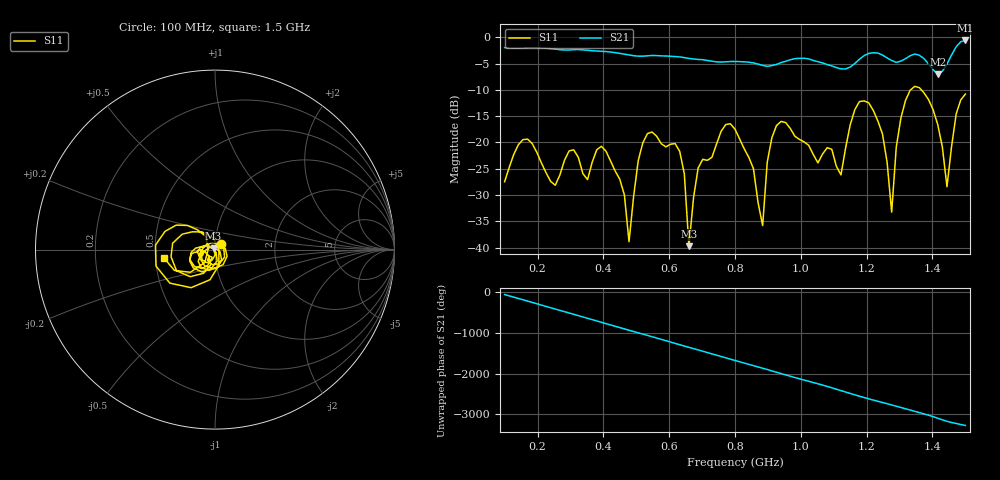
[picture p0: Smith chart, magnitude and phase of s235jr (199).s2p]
! NanoVNA-App
! Date: 2025-09-25 15:05:43
! Start: 100MHz Stop: 1,5GHz Points: 101
! S-Parameter data: F S11 S21 S12 S22
# Hz S RI R 50
!  Frequency  S11_Real  S11_Imag  S21_Real  S21_Imag  S12_Real  S12_Imag  S22_Real  S22_Imag
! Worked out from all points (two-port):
!   101 points, 100 MHz to 1.5 GHz, reference 50 ohm
!   highest |S21| = -0.60 dB at 1.5 GHz (marker M1); lowest = -7.1 dB at 1.416 GHz (marker M2)
!   |S21| within 3 dB of the highest: start of sweep to 601.6 MHz; 1.19 GHz to 1.254 GHz (64.03 MHz wide, 5.24 % of centre) (the widest 2 of 4)
!   lowest |S11| = -39.7 dB at 660 MHz (marker M3), VSWR 1.02, Z = 49.2 + j0.652 ohm
!   |S11| at or under -10 dB: start of sweep to 1.334 GHz; 1.366 GHz to end of sweep
!   S12 and S22 are empty: the file has one direction only
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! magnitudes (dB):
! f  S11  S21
! 100 MHz  -27.5  -2.0
! 170 MHz  -19.4  -2.0
! 338 MHz  -26.0  -2.4
! 408 MHz  -21.7  -2.7
! 478 MHz  -38.9  -3.4
! 520 MHz  -20.1  -3.6
! 576 MHz  -20.3  -3.5
! 632 MHz  -21.7  -3.7
! 660 MHz  -39.7  -4.0
! 688 MHz  -24.9  -4.2
! 800 MHz  -17.5  -4.6
! 884 MHz  -35.8  -5.4
! 926 MHz  -16.8  -5.2
! 1.038 GHz  -22.3  -4.4
! 1.122 GHz  -26.2  -6.0
! 1.206 GHz  -12.4  -3.1
! 1.276 GHz  -33.3  -4.4
! 1.29 GHz  -20.9  -4.8
! 1.332 GHz  -10.1  -3.5
! 1.416 GHz  -16.6  -7.1
! 1.444 GHz  -28.4  -5.1
! 1.5 GHz  -10.8  -0.6
